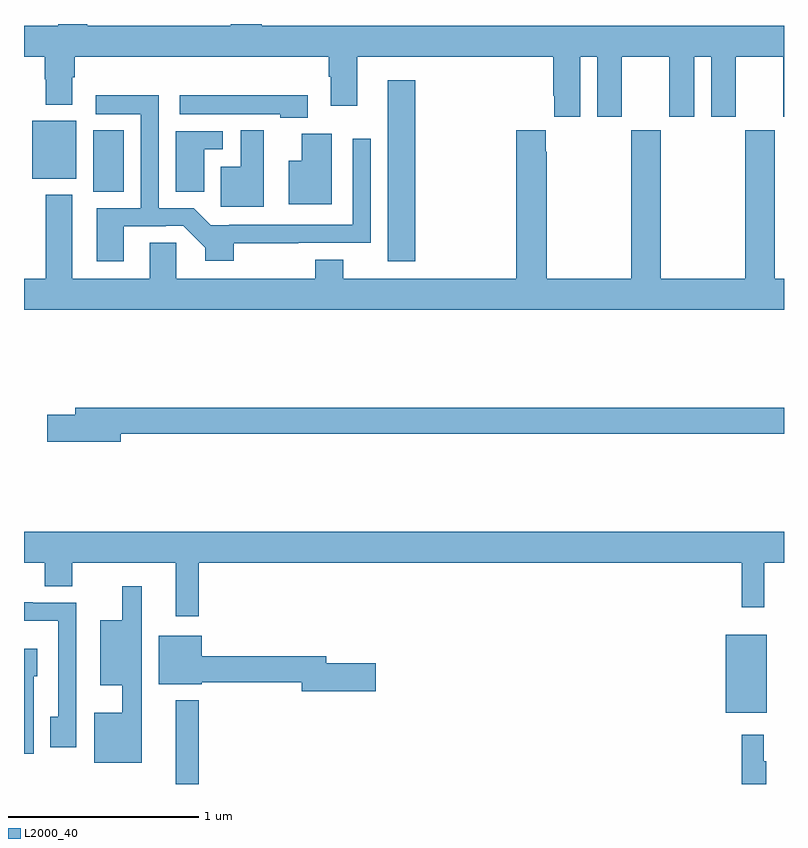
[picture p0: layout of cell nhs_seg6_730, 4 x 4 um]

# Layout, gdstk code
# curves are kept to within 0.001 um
import gdstk
lib = gdstk.Library(unit=1e-6, precision=1e-09)
def R(c, l, rs):  # rectangles x0, y0, x1, y1
    for r in rs: c.add(gdstk.rectangle(r[:2], r[2:], *l))
def P(c, l, *ps):  # polygons
    for p in ps: c.add(gdstk.Polygon(p, *l))
L2000_40 = (2000, 40)

nhs_seg6_730 = lib.new_cell('nhs_seg6_730')
R(nhs_seg6_730, L2000_40, [(157.799,951.5,157.921,951.94), (160.694,951.875,160.909,952.285), (158.915,954.252,159.059,955.204), (157.364,954.616,157.525,954.941), (157.043,954.686,157.276,954.991)])
P(nhs_seg6_730, L2000_40, [(157.181,955.492),(157,955.492),(157,955.328),(157.108,955.328),(157.108,955.208),(157.115,955.208),(157.115,955.076),(157.255,955.076),(157.255,955.219),(157.268,955.219),(157.268,955.328),(158.603,955.328),(158.603,955.222),(158.615,955.222),(158.615,955.071),(158.755,955.071),(158.755,955.328),(159.785,955.328),(159.785,955.123),(159.791,955.123),(159.791,955.011),(159.928,955.011),(159.928,955.328),(160.016,955.328),(160.016,955.011),(160.147,955.011),(160.147,955.328),(160.397,955.328),(160.397,955.011),(160.528,955.011),(160.528,955.328),(160.616,955.328),(160.616,955.011),(160.747,955.011),(160.747,955.328),(160.997,955.328),(160.997,955.011),(161,955.011),(161,955.492),(158.252,955.492),(158.252,955.5),(158.087,955.5),(158.087,955.492),(157.334,955.492),(157.334,955.5),(157.181,955.5)],
  [(158.494,955.126),(157.821,955.126),(157.821,955.025),(158.349,955.025),(158.349,955.007),(158.494,955.007)],
  [(157.525,954.435),(157.745,954.435),(157.745,954.438),(157.839,954.438),(157.955,954.322),(157.955,954.254),(158.103,954.254),(158.103,954.347),(158.826,954.348),(158.826,954.895),(158.73,954.895),(158.73,954.444),(158.08,954.444),(158.08,954.441),(157.984,954.441),(157.894,954.531),(157.71,954.531),(157.71,955.124),(157.377,955.124),(157.377,955.026),(157.614,955.026),(157.614,954.531),(157.382,954.531),(157.382,954.252),(157.525,954.252)],
  [(161,954.16),(160.95,954.16),(160.95,954.94),(160.795,954.94),(160.795,954.16),(160.35,954.16),(160.35,954.94),(160.195,954.94),(160.195,954.16),(159.75,954.16),(159.75,954.827),(159.745,954.827),(159.745,954.94),(159.59,954.94),(159.59,954.16),(158.68,954.16),(158.68,954.259),(158.533,954.259),(158.533,954.16),(157.8,954.16),(157.8,954.35),(157.661,954.35),(157.661,954.16),(157.255,954.16),(157.255,954.601),(157.115,954.601),(157.115,954.16),(157,954.16),(157,953.996),(161,953.996)],
  [(158.263,954.94),(158.141,954.94),(158.141,954.748),(158.036,954.748),(158.036,954.539),(158.263,954.539)],
  [(157.948,954.84),(158.047,954.84),(158.047,954.936),(157.799,954.936),(157.799,954.616),(157.948,954.616)],
  [(158.62,954.922),(158.462,954.922),(158.462,954.781),(158.393,954.781),(158.393,954.551),(158.62,954.551)],
  [(157.51,953.344),(161,953.344),(161,953.48),(157.271,953.48),(157.271,953.444),(157.122,953.444),(157.122,953.302),(157.51,953.302)],
  [(157.921,952.664),(160.777,952.664),(160.777,952.431),(160.895,952.431),(160.895,952.664),(161,952.664),(161,952.828),(157,952.828),(157,952.664),(157.108,952.664),(157.108,952.54),(157.255,952.54),(157.255,952.664),(157.799,952.664),(157.799,952.383),(157.921,952.383)],
  [(157.621,952.54),(157.517,952.54),(157.517,952.363),(157.4,952.363),(157.4,952.019),(157.517,952.019),(157.517,951.874),(157.37,951.874),(157.37,951.611),(157.621,951.611)],
  [(157.275,952.455),(157.045,952.455),(157.045,952.457),(157,952.457),(157,952.358),(157.179,952.358),(157.179,951.854),(157.139,951.854),(157.139,951.693),(157.275,951.693)],
  [(158.851,952.136),(158.59,952.136),(158.59,952.172),(157.936,952.172),(157.936,952.279),(157.709,952.279),(157.709,952.025),(157.936,952.025),(157.936,952.036),(158.462,952.036),(158.462,951.989),(158.851,951.989)],
  [(157.051,952.068),(157.069,952.068),(157.069,952.213),(157,952.213),(157,951.66),(157.051,951.66)],
  [(160.906,951.62),(160.894,951.62),(160.894,951.76),(160.777,951.76),(160.777,951.5),(160.906,951.5)])

lib.write_gds('nhs_seg6_730.gds')
